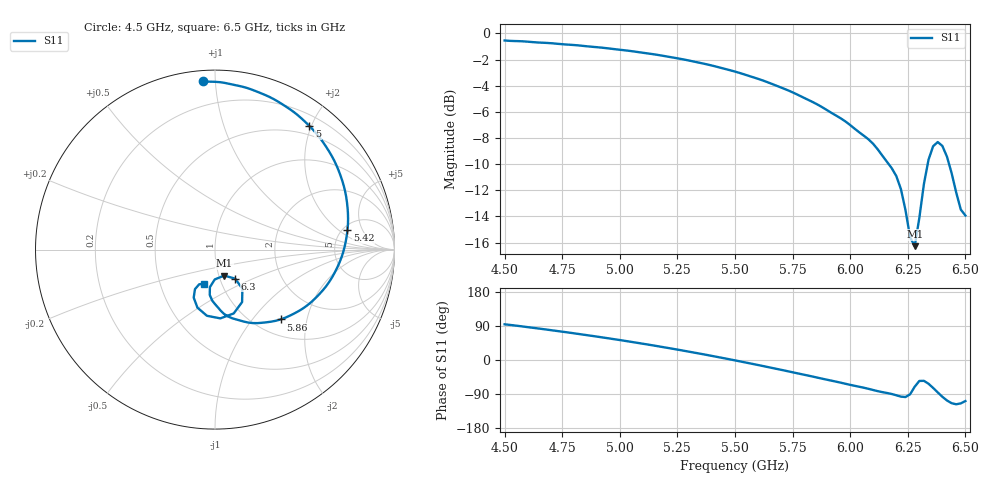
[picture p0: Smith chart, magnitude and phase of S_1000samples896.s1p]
! TOUCHSTONE file generated by CST MICROWAVE STUDIO
! Date and time: Sat Oct 29 17:45:28 2022
! Project name: L.cst
! Parameters = {Di=1.27; Epsilon_r=1.56; InnerDiameter=1.27; Length=2; Lf=10; Lg=60; OuterConductorThickness=0.2921; OuterDiameter=3.6; Wf=3; Wp=41.2; de=1.5; df=6.8; g=0.8; gx=3.89381; gy=4.35964; h=2.34; hf=1.524; px=13.7332; py=14.6344; w=9.7; wx=9.83943; wy=10.2748}
! Header version: 2018
! Port assignment regex: !\s*Touchstone port\s*([0-9]+)\s*=\s*(CST MWS port|CST DS port)\s*([0-9]+|Zmin|Zmax)\s*\(\"(.*)\"\)(\s*mode\s*([0-9]+))?.*
! Touchstone port assignment:
! Touchstone port 1 = CST MWS port 1 ("")
# GHz S DB R 50
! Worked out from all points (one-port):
!   101 points, 4.5 GHz to 6.5 GHz, reference 50 ohm
!   lowest |S11| = -16.3 dB at 6.28 GHz (marker M1), VSWR 1.36, Z = 53 - j15.7 ohm
!   |S11| at or under -10 dB: 6.167 GHz to 6.336 GHz (169 MHz wide, 2.7 % of centre); 6.429 GHz to end of sweep
!   S11 on the Smith chart (normalised r, x): 4.5 GHz: 0.06, +0.93; 5 GHz: 0.36, +1.97; 5.42 GHz: 5.50, +2.72; 5.86 GHz: 1.29, -1.40; 6.3 GHz: 1.18, -0.40; 6.5 GHz: 0.82, -0.33
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4.5  -0.53 94.2
4.6  -0.63 86.7
4.76  -0.83 73.9
4.88  -1.02 63.6
5  -1.24 52.6
5.14  -1.57 38.9
5.26  -1.93 26.4
5.42  -2.54 8.4
5.5  -2.91 -1.0
5.62  -3.59 -15.8
5.76  -4.58 -33.7
5.86  -5.45 -46.8
6  -7.01 -65.6
6.1  -8.45 -79.3
6.2  -10.90 -93.1
6.22  -11.90 -96.6
6.26  -15.58 -90.4
6.28  -16.27 -70.4
6.3  -14.12 -55.3
6.32  -11.51 -55.0
6.34  -9.65 -62.7
6.36  -8.62 -73.7
6.38  -8.31 -85.6
6.4  -8.60 -97.0
6.42  -9.42 -106.8
6.44  -10.67 -113.9
6.48  -13.47 -114.5
6.5  -13.93 -108.3
